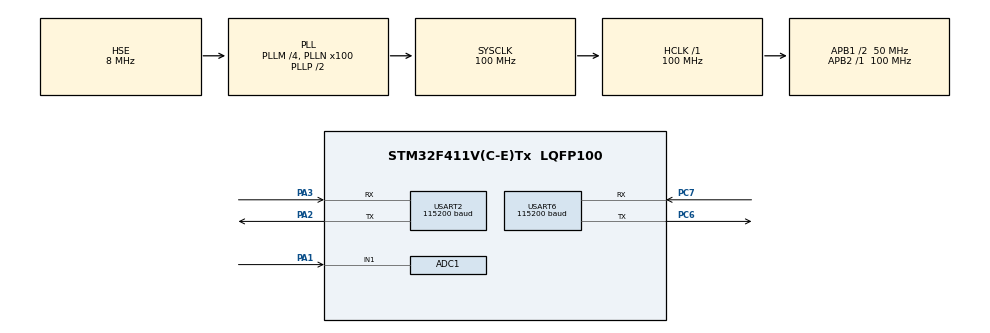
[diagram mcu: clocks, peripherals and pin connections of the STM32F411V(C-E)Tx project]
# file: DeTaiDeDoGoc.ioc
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ADC1.Channel-4\#ChannelRegularConversion=ADC_CHANNEL_1
ADC1.ContinuousConvMode=ENABLE
ADC1.NbrOfConversionFlag=1
ADC1.Rank-4\#ChannelRegularConversion=1
ADC1.SamplingTime-4\#ChannelRegularConversion=ADC_SAMPLETIME_3CYCLES
ADC1.master=1
Dma.ADC1.1.Direction=DMA_PERIPH_TO_MEMORY
Dma.ADC1.1.FIFOMode=DMA_FIFOMODE_DISABLE
Dma.ADC1.1.Instance=DMA2_Stream0
Dma.ADC1.1.MemDataAlignment=DMA_MDATAALIGN_HALFWORD
Dma.ADC1.1.MemInc=DMA_MINC_ENABLE
Dma.ADC1.1.Mode=DMA_CIRCULAR
Dma.ADC1.1.PeriphDataAlignment=DMA_PDATAALIGN_HALFWORD
Dma.ADC1.1.PeriphInc=DMA_PINC_DISABLE
Dma.ADC1.1.Priority=DMA_PRIORITY_LOW
Dma.Request0=USART2_RX
Dma.Request1=ADC1
Dma.Request2=USART6_RX
Dma.USART2_RX.0.Direction=DMA_PERIPH_TO_MEMORY
Dma.USART2_RX.0.FIFOMode=DMA_FIFOMODE_DISABLE
Dma.USART2_RX.0.Instance=DMA1_Stream5
Dma.USART2_RX.0.MemDataAlignment=DMA_MDATAALIGN_BYTE
Dma.USART2_RX.0.MemInc=DMA_MINC_ENABLE
Dma.USART2_RX.0.Mode=DMA_NORMAL
Dma.USART2_RX.0.PeriphDataAlignment=DMA_PDATAALIGN_BYTE
Dma.USART2_RX.0.PeriphInc=DMA_PINC_DISABLE
Dma.USART2_RX.0.Priority=DMA_PRIORITY_LOW
Dma.USART6_RX.2.Direction=DMA_PERIPH_TO_MEMORY
Dma.USART6_RX.2.FIFOMode=DMA_FIFOMODE_DISABLE
Dma.USART6_RX.2.Instance=DMA2_Stream1
Dma.USART6_RX.2.MemDataAlignment=DMA_MDATAALIGN_BYTE
Dma.USART6_RX.2.MemInc=DMA_MINC_ENABLE
Dma.USART6_RX.2.Mode=DMA_NORMAL
Dma.USART6_RX.2.PeriphDataAlignment=DMA_PDATAALIGN_BYTE
Dma.USART6_RX.2.PeriphInc=DMA_PINC_DISABLE
Dma.USART6_RX.2.Priority=DMA_PRIORITY_LOW
Mcu.Family=STM32F4
Mcu.Name=STM32F411V(C-E)Tx
Mcu.Package=LQFP100
NVIC.DMA1_Stream5_IRQn=true\:0\:0\:false\:false\:true\:false\:true\:true
NVIC.DMA2_Stream0_IRQn=true\:0\:0\:false\:false\:true\:false\:true\:true
NVIC.DMA2_Stream1_IRQn=true\:0\:0\:false\:false\:true\:false\:true\:true
NVIC.PriorityGroup=NVIC_PRIORITYGROUP_4
NVIC.TIM2_IRQn=true\:0\:0\:false\:false\:true\:true\:true\:true
NVIC.USART2_IRQn=true\:0\:0\:false\:false\:true\:true\:true\:true
NVIC.USART6_IRQn=true\:0\:0\:false\:false\:true\:true\:true\:true
PA1.Signal=ADCx_IN1
PA13.Mode=Serial_Wire
PA13.Signal=SYS_JTMS-SWDIO
PA14.Mode=Serial_Wire
PA14.Signal=SYS_JTCK-SWCLK
PA2.Mode=Asynchronous
PA2.Signal=USART2_TX
PA3.Mode=Asynchronous
PA3.Signal=USART2_RX
PC6.Mode=Asynchronous
PC6.Signal=USART6_TX
PC7.Mode=Asynchronous
PC7.Signal=USART6_RX
PH0\ -\ OSC_IN.Mode=HSE-External-Oscillator
PH0\ -\ OSC_IN.Signal=RCC_OSC_IN
PH1\ -\ OSC_OUT.Mode=HSE-External-Oscillator
PH1\ -\ OSC_OUT.Signal=RCC_OSC_OUT
ProjectManager.HeapSize=0x200
ProjectManager.StackSize=0x400
ProjectManager.TargetToolchain=STM32CubeIDE
RCC.48MHZClocksFreq_Value=50000000
RCC.AHBFreq_Value=100000000
RCC.APB1CLKDivider=RCC_HCLK_DIV2
RCC.APB1Freq_Value=50000000
RCC.APB1TimFreq_Value=100000000
RCC.APB2Freq_Value=100000000
RCC.APB2TimFreq_Value=100000000
RCC.CortexFreq_Value=100000000
RCC.HCLKFreq_Value=100000000
RCC.HSE_VALUE=8000000
RCC.HSI_VALUE=16000000
RCC.LSE_VALUE=32768
RCC.PLLM=4
RCC.PLLN=100
RCC.PLLSourceVirtual=RCC_PLLSOURCE_HSE
RCC.SYSCLKFreq_VALUE=100000000
RCC.SYSCLKSource=RCC_SYSCLKSOURCE_PLLCLK
RCC.VCOOutputFreq_Value=200000000
SH.ADCx_IN1.0=ADC1_IN1,IN1
TIM2.Period=3599999999
TIM2.Prescaler=99
USART2.BaudRate=115200
USART2.VirtualMode=VM_ASYNC
USART6.BaudRate=115200
USART6.VirtualMode=VM_ASYNC
VP_TIM2_VS_ClockSourceINT.Mode=Internal
board=custom

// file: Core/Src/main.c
/* USER CODE BEGIN Header */
/**
  ******************************************************************************
  * @file           : main.c
  * @brief          : Main program body
  ******************************************************************************
  * @attention
  *
  * Copyright (c) 2022 STMicroelectronics.
  * All rights reserved.
  *
  * This software is licensed under terms that can be found in the LICENSE file
  * in the root directory of this software component.
  * If no LICENSE file comes with this software, it is provided AS-IS.
  *
  ******************************************************************************
  */
/* USER CODE END Header */
#include "main.h"

/* USER CODE BEGIN Includes */
#include "stdio.h"
#include "string.h"
#include "IMU50.h"
#include "kalman.h"
/* USER CODE END Includes */

/* USER CODE BEGIN PM */
#ifdef __GNUC__
  /* With GCC, small printf (option LD Linker->Libraries->Small printf
     set to 'Yes') calls __io_putchar() */
  #define PUTCHAR_PROTOTYPE int __io_putchar(int ch)
#else
  #define PUTCHAR_PROTOTYPE int fputc(int ch, FILE *f)

#endif /* __GNUC__ */
/* USER CODE END PM */

ADC_HandleTypeDef hadc1;
DMA_HandleTypeDef hdma_adc1;

TIM_HandleTypeDef htim2;

UART_HandleTypeDef huart2;
UART_HandleTypeDef huart6;
DMA_HandleTypeDef hdma_usart2_rx;
DMA_HandleTypeDef hdma_usart6_rx;

/* USER CODE BEGIN PV */
#define BUFFER_SIZE_1 100
#define BUFFER_SIZE_2 50
uint8_t buffUART6[BUFFER_SIZE_1];
uint8_t buffUART2[BUFFER_SIZE_2];
uint8_t PcData[BUFFER_SIZE_1];
uint8_t ImuData[BUFFER_SIZE_2];
uint16_t RFCAdcValue = 0;
float T = 0;
extern Data_Triaxis_Def Gyr;
float Roll_IMU = 0;
float Roll_result = 0;
/* USER CODE END PV */

void SystemClock_Config(void);
static void MX_GPIO_Init(void);
static void MX_DMA_Init(void);
static void MX_TIM2_Init(void);
static void MX_USART2_UART_Init(void);
static void MX_ADC1_Init(void);
static void MX_USART6_UART_Init(void);
/* USER CODE BEGIN PFP */
void UARTRXInit(void);

PUTCHAR_PROTOTYPE
{
  /* Place your implementation of fputc here */
  /* e.g. write a character to the EVAL_COM1 and Loop until the end of transmission */
  HAL_UART_Transmit(&huart6, (uint8_t *)&ch, 1, 0xFFFF);
  return ch;
}
/* USER CODE END PFP */

/* USER CODE BEGIN 0 */
void HAL_UARTEx_RxEventCallback(UART_HandleTypeDef *huart, uint16_t Size)
{
	if(huart->Instance == USART6)
	{
		memset(PcData,0,BUFFER_SIZE_1);
		memcpy(PcData,buffUART6,Size);
		HAL_UARTEx_ReceiveToIdle_DMA(&huart6, buffUART6, BUFFER_SIZE_1);
	}
	if(huart->Instance == USART2)
	{
		memset(ImuData,0,BUFFER_SIZE_2);
		memcpy(ImuData,buffUART2,Size);
		HAL_UARTEx_ReceiveToIdle_DMA(&huart2, buffUART2, BUFFER_SIZE_2);
	}
}

void UARTRXInit(void) {
	HAL_UARTEx_ReceiveToIdle_DMA(&huart6, buffUART6, BUFFER_SIZE_1);
	__HAL_DMA_DISABLE_IT(&hdma_usart6_rx, DMA_IT_HT);
	HAL_UARTEx_ReceiveToIdle_DMA(&huart2, buffUART2, BUFFER_SIZE_2);
	__HAL_DMA_DISABLE_IT(&hdma_usart2_rx, DMA_IT_HT);
}

float RFC_Factor = 1;
uint16_t delta_RFC;
uint16_t oldADC = 0;
void HAL_ADC_ConvCpltCallback(ADC_HandleTypeDef* hadc)
{
    // Conversion Complete & DMA Transfer Complete As Well
	RFCAdcValue = KalmanFilterRFC(RFCAdcValue);
	delta_RFC = (RFCAdcValue - oldADC)*RFC_Factor;
	oldADC = RFCAdcValue;
}
/* USER CODE END 0 */

int main(void)
{

  /* MCU Configuration--------------------------------------------------------*/

  /* Reset of all peripherals, Initializes the Flash interface and the Systick. */
  HAL_Init();

  /* Configure the system clock */
  SystemClock_Config();

  /* Initialize all configured peripherals */
  MX_GPIO_Init();
  MX_DMA_Init();
  MX_TIM2_Init();
  MX_USART2_UART_Init();
  MX_ADC1_Init();
  MX_USART6_UART_Init();
  /* USER CODE BEGIN 2 */
  HAL_ADC_Start_DMA(&hadc1, (uint32_t*)&RFCAdcValue, 1);
  UARTRXInit();
  IMU50_Init(&huart2, ANSWER, AUT_GYR, ImuData, BUFFER_SIZE_2);
  /* USER CODE END 2 */

  /* Infinite loop */
  /* USER CODE BEGIN WHILE */
  uint32_t t_old = __HAL_TIM_GetCounter(&htim2);
  while (1)
  {
	if(IMU50_Read_Gyr() != HAL_OK)
	{
		HAL_Delay(5);
		continue;
	}
	Gyr.z = KalmanFilterGyr(Gyr.z);
	uint32_t t_cur = __HAL_TIM_GetCounter(&htim2);
	T = (t_cur - t_old)*0.000001f;
	t_old = t_cur;
	Roll_IMU += Gyr.z*T;
	Roll_result = Roll_IMU + delta_RFC;
    /* USER CODE END WHILE */

  }
}

void SystemClock_Config(void)
{
  RCC_OscInitTypeDef RCC_OscInitStruct = {0};
  RCC_ClkInitTypeDef RCC_ClkInitStruct = {0};

  /** Configure the main internal regulator output voltage
  */
  __HAL_RCC_PWR_CLK_ENABLE();
  __HAL_PWR_VOLTAGESCALING_CONFIG(PWR_REGULATOR_VOLTAGE_SCALE1);

  /** Initializes the RCC Oscillators according to the specified parameters
  * in the RCC_OscInitTypeDef structure.
  */
  RCC_OscInitStruct.OscillatorType = RCC_OSCILLATORTYPE_HSE;
  RCC_OscInitStruct.HSEState = RCC_HSE_ON;
  RCC_OscInitStruct.PLL.PLLState = RCC_PLL_ON;
  RCC_OscInitStruct.PLL.PLLSource = RCC_PLLSOURCE_HSE;
  RCC_OscInitStruct.PLL.PLLM = 4;
  RCC_OscInitStruct.PLL.PLLN = 100;
  RCC_OscInitStruct.PLL.PLLP = RCC_PLLP_DIV2;
  RCC_OscInitStruct.PLL.PLLQ = 4;
  if (HAL_RCC_OscConfig(&RCC_OscInitStruct) != HAL_OK)
  {
    Error_Handler();
  }

  /** Initializes the CPU, AHB and APB buses clocks
  */
  RCC_ClkInitStruct.ClockType = RCC_CLOCKTYPE_HCLK|RCC_CLOCKTYPE_SYSCLK
                              |RCC_CLOCKTYPE_PCLK1|RCC_CLOCKTYPE_PCLK2;
  RCC_ClkInitStruct.SYSCLKSource = RCC_SYSCLKSOURCE_PLLCLK;
  RCC_ClkInitStruct.AHBCLKDivider = RCC_SYSCLK_DIV1;
  RCC_ClkInitStruct.APB1CLKDivider = RCC_HCLK_DIV2;
  RCC_ClkInitStruct.APB2CLKDivider = RCC_HCLK_DIV1;

  if (HAL_RCC_ClockConfig(&RCC_ClkInitStruct, FLASH_LATENCY_3) != HAL_OK)
  {
    Error_Handler();
  }
}

static void MX_ADC1_Init(void)
{

  ADC_ChannelConfTypeDef sConfig = {0};

  /** Configure the global features of the ADC (Clock, Resolution, Data Alignment and number of conversion)
  */
  hadc1.Instance = ADC1;
  hadc1.Init.ClockPrescaler = ADC_CLOCK_SYNC_PCLK_DIV4;
  hadc1.Init.Resolution = ADC_RESOLUTION_12B;
  hadc1.Init.ScanConvMode = DISABLE;
  hadc1.Init.ContinuousConvMode = ENABLE;
  hadc1.Init.DiscontinuousConvMode = DISABLE;
  hadc1.Init.ExternalTrigConvEdge = ADC_EXTERNALTRIGCONVEDGE_NONE;
  hadc1.Init.ExternalTrigConv = ADC_SOFTWARE_START;
  hadc1.Init.DataAlign = ADC_DATAALIGN_RIGHT;
  hadc1.Init.NbrOfConversion = 1;
  hadc1.Init.DMAContinuousRequests = DISABLE;
  hadc1.Init.EOCSelection = ADC_EOC_SINGLE_CONV;
  if (HAL_ADC_Init(&hadc1) != HAL_OK)
  {
    Error_Handler();
  }

  /** Configure for the selected ADC regular channel its corresponding rank in the sequencer and its sample time.
  */
  sConfig.Channel = ADC_CHANNEL_1;
  sConfig.Rank = 1;
  sConfig.SamplingTime = ADC_SAMPLETIME_3CYCLES;
  if (HAL_ADC_ConfigChannel(&hadc1, &sConfig) != HAL_OK)
  {
    Error_Handler();
  }

}

static void MX_TIM2_Init(void)
{

  TIM_ClockConfigTypeDef sClockSourceConfig = {0};
  TIM_MasterConfigTypeDef sMasterConfig = {0};

  htim2.Instance = TIM2;
  htim2.Init.Prescaler = 99;
  htim2.Init.CounterMode = TIM_COUNTERMODE_UP;
  htim2.Init.Period = 3599999999;
  htim2.Init.ClockDivision = TIM_CLOCKDIVISION_DIV1;
  htim2.Init.AutoReloadPreload = TIM_AUTORELOAD_PRELOAD_DISABLE;
  if (HAL_TIM_Base_Init(&htim2) != HAL_OK)
  {
    Error_Handler();
  }
  sClockSourceConfig.ClockSource = TIM_CLOCKSOURCE_INTERNAL;
  if (HAL_TIM_ConfigClockSource(&htim2, &sClockSourceConfig) != HAL_OK)
  {
    Error_Handler();
  }
  sMasterConfig.MasterOutputTrigger = TIM_TRGO_RESET;
  sMasterConfig.MasterSlaveMode = TIM_MASTERSLAVEMODE_DISABLE;
  if (HAL_TIMEx_MasterConfigSynchronization(&htim2, &sMasterConfig) != HAL_OK)
  {
    Error_Handler();
  }

}

static void MX_USART2_UART_Init(void)
{

  huart2.Instance = USART2;
  huart2.Init.BaudRate = 115200;
  huart2.Init.WordLength = UART_WORDLENGTH_8B;
  huart2.Init.StopBits = UART_STOPBITS_1;
  huart2.Init.Parity = UART_PARITY_NONE;
  huart2.Init.Mode = UART_MODE_TX_RX;
  huart2.Init.HwFlowCtl = UART_HWCONTROL_NONE;
  huart2.Init.OverSampling = UART_OVERSAMPLING_16;
  if (HAL_UART_Init(&huart2) != HAL_OK)
  {
    Error_Handler();
  }

}

static void MX_USART6_UART_Init(void)
{

  huart6.Instance = USART6;
  huart6.Init.BaudRate = 115200;
  huart6.Init.WordLength = UART_WORDLENGTH_8B;
  huart6.Init.StopBits = UART_STOPBITS_1;
  huart6.Init.Parity = UART_PARITY_NONE;
  huart6.Init.Mode = UART_MODE_TX_RX;
  huart6.Init.HwFlowCtl = UART_HWCONTROL_NONE;
  huart6.Init.OverSampling = UART_OVERSAMPLING_16;
  if (HAL_UART_Init(&huart6) != HAL_OK)
  {
    Error_Handler();
  }

}

static void MX_DMA_Init(void)
{

  /* DMA controller clock enable */
  __HAL_RCC_DMA1_CLK_ENABLE();
  __HAL_RCC_DMA2_CLK_ENABLE();

  /* DMA interrupt init */
  /* DMA1_Stream5_IRQn interrupt configuration */
  HAL_NVIC_SetPriority(DMA1_Stream5_IRQn, 0, 0);
  HAL_NVIC_EnableIRQ(DMA1_Stream5_IRQn);
  /* DMA2_Stream0_IRQn interrupt configuration */
  HAL_NVIC_SetPriority(DMA2_Stream0_IRQn, 0, 0);
  HAL_NVIC_EnableIRQ(DMA2_Stream0_IRQn);
  /* DMA2_Stream1_IRQn interrupt configuration */
  HAL_NVIC_SetPriority(DMA2_Stream1_IRQn, 0, 0);
  HAL_NVIC_EnableIRQ(DMA2_Stream1_IRQn);

}

static void MX_GPIO_Init(void)
{

  /* GPIO Ports Clock Enable */
  __HAL_RCC_GPIOH_CLK_ENABLE();
  __HAL_RCC_GPIOA_CLK_ENABLE();
  __HAL_RCC_GPIOC_CLK_ENABLE();

}

void Error_Handler(void)
{
  __disable_irq();
  while (1)
  {
  }
}
